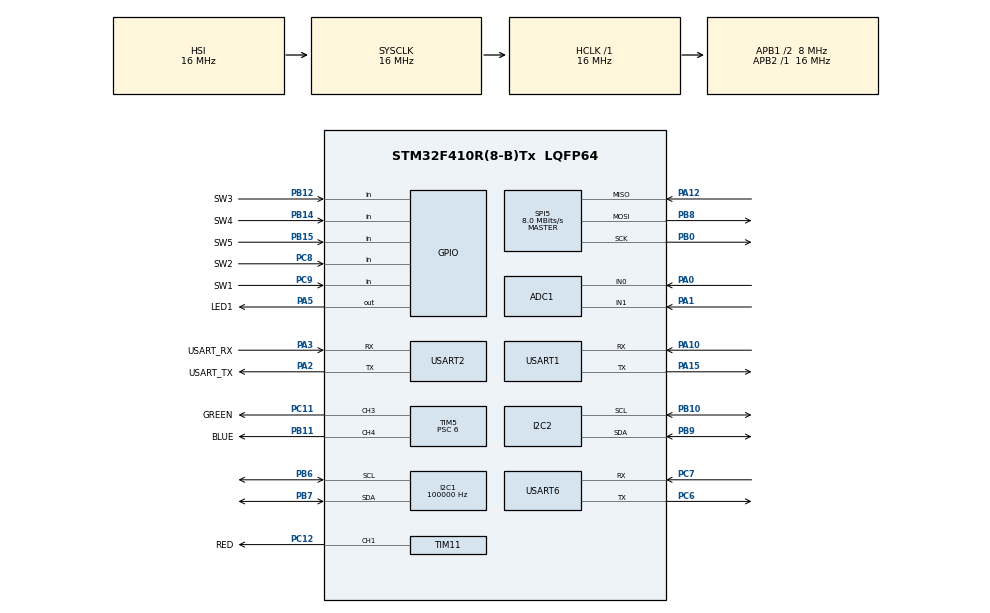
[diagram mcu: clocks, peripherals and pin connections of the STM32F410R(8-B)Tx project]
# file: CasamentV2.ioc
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ADC1.Channel-0\#ChannelRegularConversion=ADC_CHANNEL_0
ADC1.NbrOfConversionFlag=1
ADC1.Rank-0\#ChannelRegularConversion=1
ADC1.SamplingTime-0\#ChannelRegularConversion=ADC_SAMPLETIME_3CYCLES
ADC1.master=1
I2C1.ClockSpeed=100000
I2C1.I2C_Mode=I2C_Standard
Mcu.Family=STM32F4
Mcu.Name=STM32F410R(8-B)Tx
Mcu.Package=LQFP64
NVIC.PriorityGroup=NVIC_PRIORITYGROUP_0
PA0-WKUP.Signal=ADCx_IN0
PA1.Signal=ADCx_IN1
PA10.Mode=Asynchronous
PA10.Signal=USART1_RX
PA12.Mode=Full_Duplex_Master
PA12.Signal=SPI5_MISO
PA13.GPIO_Label=TMS
PA13.Mode=Serial_Wire
PA13.Signal=SYS_JTMS-SWDIO
PA14.GPIO_Label=TCK
PA14.Mode=Serial_Wire
PA14.Signal=SYS_JTCK-SWCLK
PA15.Mode=Asynchronous
PA15.Signal=USART1_TX
PA2.GPIO_Label=USART_TX
PA2.Mode=Asynchronous
PA2.Signal=USART2_TX
PA3.GPIO_Label=USART_RX
PA3.Mode=Asynchronous
PA3.Signal=USART2_RX
PA5.GPIO_Label=LED1
PA5.Signal=GPIO_Output
PB0.Mode=Full_Duplex_Master
PB0.Signal=SPI5_SCK
PB10.Mode=I2C
PB10.Signal=I2C2_SCL
PB11.GPIO_Label=BLUE
PB11.Signal=S_TIM5_CH4
PB12.GPIO_Label=SW3
PB12.GPIO_PuPd=GPIO_PULLDOWN
PB12.Signal=GPIO_Input
PB14.GPIO_Label=SW4
PB14.GPIO_PuPd=GPIO_PULLDOWN
PB14.Signal=GPIO_Input
PB15.GPIO_Label=SW5
PB15.GPIO_PuPd=GPIO_PULLDOWN
PB15.Signal=GPIO_Input
PB3.GPIO_Label=SWO
PB3.Signal=SYS_JTDO-SWO
PB6.Mode=I2C
PB6.Signal=I2C1_SCL
PB7.Mode=I2C
PB7.Signal=I2C1_SDA
PB8.Mode=Full_Duplex_Master
PB8.Signal=SPI5_MOSI
PB9.Mode=I2C
PB9.Signal=I2C2_SDA
PC11.GPIO_Label=GREEN
PC11.Signal=S_TIM5_CH3
PC12.GPIO_Label=RED
PC12.Signal=S_TIM11_CH1
PC14-OSC32_IN.Mode=LSE-External-Oscillator
PC14-OSC32_IN.Signal=RCC_OSC32_IN
PC15-OSC32_OUT.Mode=LSE-External-Oscillator
PC15-OSC32_OUT.Signal=RCC_OSC32_OUT
PC6.Mode=Asynchronous
PC6.Signal=USART6_TX
PC7.Mode=Asynchronous
PC7.Signal=USART6_RX
PC8.GPIO_Label=SW2
PC8.GPIO_PuPd=GPIO_PULLDOWN
PC8.Signal=GPIO_Input
PC9.GPIO_Label=SW1
PC9.GPIO_Mode=GPIO_MODE_INPUT
PC9.GPIO_PuPd=GPIO_PULLDOWN
PC9.Signal=GPIO_Input
ProjectManager.HeapSize=0x200
ProjectManager.StackSize=0x400
ProjectManager.TargetToolchain=STM32CubeIDE
RCC.48MHZClocksFreq_Value=50000000
RCC.AHBFreq_Value=16000000
RCC.APB1CLKDivider=RCC_HCLK_DIV2
RCC.APB1Freq_Value=8000000
RCC.APB1TimFreq_Value=16000000
RCC.APB2Freq_Value=16000000
RCC.APB2TimFreq_Value=16000000
RCC.CortexFreq_Value=16000000
RCC.FLatency-AdvancedSettings=FLASH_LATENCY_0
RCC.HCLKFreq_Value=16000000
RCC.HSE_VALUE=8000000
RCC.HSI_VALUE=16000000
RCC.PLLM=8
RCC.PLLN=100
RCC.RCC_RTC_Clock_SourceVirtual=RCC_RTCCLKSOURCE_LSE
RCC.SYSCLKFreq_VALUE=16000000
RCC.VCOOutputFreq_Value=200000000
RTC.Format=RTC_FORMAT_BIN
SH.ADCx_IN0.0=ADC1_IN0,IN0
SH.ADCx_IN1.0=ADC1_IN1,IN1
SH.S_TIM11_CH1.0=TIM11_CH1,PWM Generation1 CH1
SH.S_TIM5_CH3.0=TIM5_CH3,PWM Generation3 CH3
SH.S_TIM5_CH4.0=TIM5_CH4,PWM Generation4 CH4
SPI5.CalculateBaudRate=8.0 MBits/s
SPI5.Direction=SPI_DIRECTION_2LINES
SPI5.Mode=SPI_MODE_MASTER
SPI5.VirtualType=VM_MASTER
TIM11.Channel=TIM_CHANNEL_1
TIM11.Period=255
TIM11.Prescaler=6
TIM11.Pulse=0
TIM5.Channel-PWM\ Generation3\ CH3=TIM_CHANNEL_3
TIM5.Channel-PWM\ Generation4\ CH4=TIM_CHANNEL_4
TIM5.Period=255
TIM5.Prescaler=6
USART1.OverSampling=UART_OVERSAMPLING_16
USART1.VirtualMode=VM_ASYNC
USART2.VirtualMode=VM_ASYNC
USART6.VirtualMode=VM_ASYNC
VP_RTC_VS_RTC_Activate.Mode=RTC_Enabled
VP_RTC_VS_RTC_Calendar.Mode=RTC_Calendar
VP_TIM11_VS_ClockSourceINT.Mode=Enable_Timer
board=NUCLEO-F410RB

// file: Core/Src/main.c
/* USER CODE BEGIN Header */
/**
  ******************************************************************************
  * @file           : main.c
  * @brief          : Main program body
  ******************************************************************************
  * @attention
  *
  * Copyright (c) 2023 STMicroelectronics.
  * All rights reserved.
  *
  * This software is licensed under terms that can be found in the LICENSE file
  * in the root directory of this software component.
  * If no LICENSE file comes with this software, it is provided AS-IS.
  *
  ******************************************************************************
  */
/* USER CODE END Header */
#include "main.h"

/* USER CODE BEGIN Includes */
#include "ee.h"
/* USER CODE END Includes */

/* USER CODE BEGIN PD */
//colors

/* USER CODE END PD */

ADC_HandleTypeDef hadc1;

I2C_HandleTypeDef hi2c1;
I2C_HandleTypeDef hi2c2;

RTC_HandleTypeDef hrtc;

SPI_HandleTypeDef hspi5;

TIM_HandleTypeDef htim5;
TIM_HandleTypeDef htim11;

UART_HandleTypeDef huart1;
UART_HandleTypeDef huart2;
UART_HandleTypeDef huart6;

/* USER CODE BEGIN PV */
//variables guaradades a la flash

uint8_t var1 = 0;
//UART1=J3
//UART6=J2
//UART2=ICSP
int __io_putchar(int ch){
	HAL_UART_Transmit(&huart2, (uint8_t *)&ch, 1, 100);
	return ch;
}

uint8_t actualzarhora = 0;
//variables snake
extern int score;
//veriables del menu
bool snake_en = false; //engenga la pantalla de l'snake.
bool simon_en = false;
bool boad_en = false;
bool ajustar_hora = false;
//veriable del simon
uint8_t control_error = 0;
uint32_t dades_guardar = 0;

typedef struct{
	uint32_t total_points;
	uint16_t snake_points;
	uint16_t boat_points;
	uint16_t simon_points;

}ee_Storage_t;

ee_Storage_t ee;
/* USER CODE END PV */

void SystemClock_Config(void);
static void MX_GPIO_Init(void);
static void MX_USART2_UART_Init(void);
static void MX_TIM11_Init(void);
static void MX_TIM5_Init(void);
static void MX_I2C1_Init(void);
static void MX_USART1_UART_Init(void);
static void MX_USART6_UART_Init(void);
static void MX_RTC_Init(void);
static void MX_ADC1_Init(void);
static void MX_I2C2_Init(void);
static void MX_SPI5_Init(void);

/* USER CODE BEGIN 0 */
bool update_data = false;
/* USER CODE END 0 */

int main(void)
{

  /* MCU Configuration--------------------------------------------------------*/

  /* Reset of all peripherals, Initializes the Flash interface and the Systick. */
  HAL_Init();

  /* Configure the system clock */
  SystemClock_Config();

  /* Initialize all configured peripherals */
  MX_GPIO_Init();
  MX_USART2_UART_Init();
  MX_TIM11_Init();
  MX_TIM5_Init();
  MX_I2C1_Init();
  MX_USART1_UART_Init();
  MX_USART6_UART_Init();
  MX_RTC_Init();
  MX_ADC1_Init();
  MX_I2C2_Init();
  MX_SPI5_Init();
  /* USER CODE BEGIN 2 */
  init_RGB();
  ssd1306_Init();
  //iniciar la serp
  init_snake();
 /* EE_Init(&ee, sizeof(ee_Storage_t));
  ee.boat_points = 0;
  ee.total_points = 12;
  printf("%lu\r\n", ee.total_points);
  EE_Write();
  ee.total_points = 25;
  printf("%lu\r\n", ee.total_points);
  EE_Read();
  printf("%lu\r\n", ee.total_points);
/*

  /* USER CODE END 2 */

  /* Infinite loop */
  while (1)
  {

    /* USER CODE BEGIN 3 */

/*
	  if(HAL_GPIO_ReadPin(SW1_GPIO_Port, SW1_Pin)){
		  LED_RGB(vermell);
	  }
	  else if(HAL_GPIO_ReadPin(SW2_GPIO_Port, SW2_Pin)){
		  LED_RGB(verd);
	  }
	  else if(HAL_GPIO_ReadPin(SW3_GPIO_Port, SW3_Pin)){
	  		  LED_RGB(blau);
	  	  }
	  else if(HAL_GPIO_ReadPin(SW4_GPIO_Port, SW4_Pin)){
	  		  LED_RGB(rosa);
	  	  }
	  else if(HAL_GPIO_ReadPin(SW5_GPIO_Port, SW5_Pin)){
	  		  LED_RGB(groc);
	  	  }

	  else{
		  LED_RGB(blanc);
	  }
*/
	  //joc del snake
	  if(!snake_en && !simon_en && !boad_en && !ajustar_hora){
		  //menu principal, posar la hora i el boto incial.
		  //LED_RGB(vermell);
		  hora();
		  //printf("hola\r\n");

		  //score = 0;
		  menu();
	  }
	  if(snake_en){
		  update_grid();
		  check_food();
		  move_snake();
		  if (check_collision(true)){
			  snake_en = false;
			  ssd1306_Fill(Black);
		  }
		  wait_check();
	  }
	  if(boad_en){
		  boad_init(true);
		  boad_matrix_build();
		  Boat_Send_matrix(0x34, 0x88);
		  update_OLED();
	  }
	  if(simon_en){
		  //test_led();
		  //test_random_LED();
		  Led_Sequence();
		  control_error = SW_Sequence ();
		  if(control_error == 100){
			  simon_game_over();
			  simon_en = false;
			  //init_simon();
			  ssd1306_Fill(Black);
		  }
		  HAL_Delay(200);
	  }
	  if(ajustar_hora){
		  //gestio
		  actualitzar_hora();
		  ajustar_hora = false;

	  }
	  //HAL_Delay(200);

  }
  /* USER CODE END 3 */
}

void SystemClock_Config(void)
{
  RCC_OscInitTypeDef RCC_OscInitStruct = {0};
  RCC_ClkInitTypeDef RCC_ClkInitStruct = {0};

  /** Configure the main internal regulator output voltage
  */
  __HAL_RCC_PWR_CLK_ENABLE();
  __HAL_PWR_VOLTAGESCALING_CONFIG(PWR_REGULATOR_VOLTAGE_SCALE1);

  /** Initializes the RCC Oscillators according to the specified parameters
  * in the RCC_OscInitTypeDef structure.
  */
  RCC_OscInitStruct.OscillatorType = RCC_OSCILLATORTYPE_HSI|RCC_OSCILLATORTYPE_LSE;
  RCC_OscInitStruct.LSEState = RCC_LSE_ON;
  RCC_OscInitStruct.HSIState = RCC_HSI_ON;
  RCC_OscInitStruct.HSICalibrationValue = RCC_HSICALIBRATION_DEFAULT;
  RCC_OscInitStruct.PLL.PLLState = RCC_PLL_NONE;
  if (HAL_RCC_OscConfig(&RCC_OscInitStruct) != HAL_OK)
  {
    Error_Handler();
  }

  /** Initializes the CPU, AHB and APB buses clocks
  */
  RCC_ClkInitStruct.ClockType = RCC_CLOCKTYPE_HCLK|RCC_CLOCKTYPE_SYSCLK
                              |RCC_CLOCKTYPE_PCLK1|RCC_CLOCKTYPE_PCLK2;
  RCC_ClkInitStruct.SYSCLKSource = RCC_SYSCLKSOURCE_HSI;
  RCC_ClkInitStruct.AHBCLKDivider = RCC_SYSCLK_DIV1;
  RCC_ClkInitStruct.APB1CLKDivider = RCC_HCLK_DIV2;
  RCC_ClkInitStruct.APB2CLKDivider = RCC_HCLK_DIV1;

  if (HAL_RCC_ClockConfig(&RCC_ClkInitStruct, FLASH_LATENCY_0) != HAL_OK)
  {
    Error_Handler();
  }
}

static void MX_ADC1_Init(void)
{

  ADC_ChannelConfTypeDef sConfig = {0};

  /** Configure the global features of the ADC (Clock, Resolution, Data Alignment and number of conversion)
  */
  hadc1.Instance = ADC1;
  hadc1.Init.ClockPrescaler = ADC_CLOCK_SYNC_PCLK_DIV2;
  hadc1.Init.Resolution = ADC_RESOLUTION_12B;
  hadc1.Init.ScanConvMode = DISABLE;
  hadc1.Init.ContinuousConvMode = DISABLE;
  hadc1.Init.DiscontinuousConvMode = DISABLE;
  hadc1.Init.ExternalTrigConvEdge = ADC_EXTERNALTRIGCONVEDGE_NONE;
  hadc1.Init.ExternalTrigConv = ADC_SOFTWARE_START;
  hadc1.Init.DataAlign = ADC_DATAALIGN_RIGHT;
  hadc1.Init.NbrOfConversion = 1;
  hadc1.Init.DMAContinuousRequests = DISABLE;
  hadc1.Init.EOCSelection = ADC_EOC_SINGLE_CONV;
  if (HAL_ADC_Init(&hadc1) != HAL_OK)
  {
    Error_Handler();
  }

  /** Configure for the selected ADC regular channel its corresponding rank in the sequencer and its sample time.
  */
  sConfig.Channel = ADC_CHANNEL_0;
  sConfig.Rank = 1;
  sConfig.SamplingTime = ADC_SAMPLETIME_3CYCLES;
  if (HAL_ADC_ConfigChannel(&hadc1, &sConfig) != HAL_OK)
  {
    Error_Handler();
  }

}

static void MX_I2C1_Init(void)
{

  hi2c1.Instance = I2C1;
  hi2c1.Init.ClockSpeed = 100000;
  hi2c1.Init.DutyCycle = I2C_DUTYCYCLE_2;
  hi2c1.Init.OwnAddress1 = 0;
  hi2c1.Init.AddressingMode = I2C_ADDRESSINGMODE_7BIT;
  hi2c1.Init.DualAddressMode = I2C_DUALADDRESS_DISABLE;
  hi2c1.Init.OwnAddress2 = 0;
  hi2c1.Init.GeneralCallMode = I2C_GENERALCALL_DISABLE;
  hi2c1.Init.NoStretchMode = I2C_NOSTRETCH_DISABLE;
  if (HAL_I2C_Init(&hi2c1) != HAL_OK)
  {
    Error_Handler();
  }

}

static void MX_I2C2_Init(void)
{

  hi2c2.Instance = I2C2;
  hi2c2.Init.ClockSpeed = 100000;
  hi2c2.Init.DutyCycle = I2C_DUTYCYCLE_2;
  hi2c2.Init.OwnAddress1 = 0;
  hi2c2.Init.AddressingMode = I2C_ADDRESSINGMODE_7BIT;
  hi2c2.Init.DualAddressMode = I2C_DUALADDRESS_DISABLE;
  hi2c2.Init.OwnAddress2 = 0;
  hi2c2.Init.GeneralCallMode = I2C_GENERALCALL_DISABLE;
  hi2c2.Init.NoStretchMode = I2C_NOSTRETCH_DISABLE;
  if (HAL_I2C_Init(&hi2c2) != HAL_OK)
  {
    Error_Handler();
  }

}

static void MX_RTC_Init(void)
{

  RTC_TimeTypeDef sTime = {0};
  RTC_DateTypeDef sDate = {0};

  /** Initialize RTC Only
  */
  hrtc.Instance = RTC;
  hrtc.Init.HourFormat = RTC_HOURFORMAT_24;
  hrtc.Init.AsynchPrediv = 127;
  hrtc.Init.SynchPrediv = 255;
  hrtc.Init.OutPut = RTC_OUTPUT_DISABLE;
  hrtc.Init.OutPutPolarity = RTC_OUTPUT_POLARITY_HIGH;
  hrtc.Init.OutPutType = RTC_OUTPUT_TYPE_OPENDRAIN;
  if (HAL_RTC_Init(&hrtc) != HAL_OK)
  {
    Error_Handler();
  }

  /* USER CODE BEGIN Check_RTC_BKUP */
  if(HAL_RTCEx_BKUPRead(&hrtc, RTC_BKP_DR0) != 0x45){
	  BSP_RTC_SetInitialDateTime();
	  /* Writes a data in a RTC Backup data Register0 #######################*/
	  HAL_RTCEx_BKUPWrite(&hrtc, RTC_BKP_DR0, 0x45);
  }
  if(0){ //ja ho comprovo en el element superior

  /* USER CODE END Check_RTC_BKUP */

  /** Initialize RTC and set the Time and Date
  */
  sTime.Hours = 0;
  sTime.Minutes = 0;
  sTime.Seconds = 0;
  sTime.DayLightSaving = RTC_DAYLIGHTSAVING_NONE;
  sTime.StoreOperation = RTC_STOREOPERATION_RESET;
  if (HAL_RTC_SetTime(&hrtc, &sTime, RTC_FORMAT_BIN) != HAL_OK)
  {
    Error_Handler();
  }
  sDate.WeekDay = RTC_WEEKDAY_MONDAY;
  sDate.Month = RTC_MONTH_JANUARY;
  sDate.Date = 1;
  sDate.Year = 0;

  if (HAL_RTC_SetDate(&hrtc, &sDate, RTC_FORMAT_BIN) != HAL_OK)
  {
    Error_Handler();
  }
  }

}

static void MX_SPI5_Init(void)
{

  /* SPI5 parameter configuration*/
  hspi5.Instance = SPI5;
  hspi5.Init.Mode = SPI_MODE_MASTER;
  hspi5.Init.Direction = SPI_DIRECTION_2LINES;
  hspi5.Init.DataSize = SPI_DATASIZE_8BIT;
  hspi5.Init.CLKPolarity = SPI_POLARITY_LOW;
  hspi5.Init.CLKPhase = SPI_PHASE_1EDGE;
  hspi5.Init.NSS = SPI_NSS_SOFT;
  hspi5.Init.BaudRatePrescaler = SPI_BAUDRATEPRESCALER_2;
  hspi5.Init.FirstBit = SPI_FIRSTBIT_MSB;
  hspi5.Init.TIMode = SPI_TIMODE_DISABLE;
  hspi5.Init.CRCCalculation = SPI_CRCCALCULATION_DISABLE;
  hspi5.Init.CRCPolynomial = 15;
  if (HAL_SPI_Init(&hspi5) != HAL_OK)
  {
    Error_Handler();
  }

}

static void MX_TIM5_Init(void)
{

  TIM_MasterConfigTypeDef sMasterConfig = {0};
  TIM_OC_InitTypeDef sConfigOC = {0};

  htim5.Instance = TIM5;
  htim5.Init.Prescaler = 6;
  htim5.Init.CounterMode = TIM_COUNTERMODE_UP;
  htim5.Init.Period = 255;
  htim5.Init.ClockDivision = TIM_CLOCKDIVISION_DIV1;
  htim5.Init.AutoReloadPreload = TIM_AUTORELOAD_PRELOAD_DISABLE;
  if (HAL_TIM_PWM_Init(&htim5) != HAL_OK)
  {
    Error_Handler();
  }
  sMasterConfig.MasterOutputTrigger = TIM_TRGO_RESET;
  sMasterConfig.MasterSlaveMode = TIM_MASTERSLAVEMODE_DISABLE;
  if (HAL_TIMEx_MasterConfigSynchronization(&htim5, &sMasterConfig) != HAL_OK)
  {
    Error_Handler();
  }
  sConfigOC.OCMode = TIM_OCMODE_PWM1;
  sConfigOC.Pulse = 0;
  sConfigOC.OCPolarity = TIM_OCPOLARITY_HIGH;
  sConfigOC.OCFastMode = TIM_OCFAST_DISABLE;
  if (HAL_TIM_PWM_ConfigChannel(&htim5, &sConfigOC, TIM_CHANNEL_3) != HAL_OK)
  {
    Error_Handler();
  }
  if (HAL_TIM_PWM_ConfigChannel(&htim5, &sConfigOC, TIM_CHANNEL_4) != HAL_OK)
  {
    Error_Handler();
  }
  HAL_TIM_MspPostInit(&htim5);

}

static void MX_TIM11_Init(void)
{

  TIM_OC_InitTypeDef sConfigOC = {0};

  htim11.Instance = TIM11;
  htim11.Init.Prescaler = 6;
  htim11.Init.CounterMode = TIM_COUNTERMODE_UP;
  htim11.Init.Period = 255;
  htim11.Init.ClockDivision = TIM_CLOCKDIVISION_DIV1;
  htim11.Init.AutoReloadPreload = TIM_AUTORELOAD_PRELOAD_DISABLE;
  if (HAL_TIM_Base_Init(&htim11) != HAL_OK)
  {
    Error_Handler();
  }
  if (HAL_TIM_PWM_Init(&htim11) != HAL_OK)
  {
    Error_Handler();
  }
  sConfigOC.OCMode = TIM_OCMODE_PWM1;
  sConfigOC.Pulse = 0;
  sConfigOC.OCPolarity = TIM_OCPOLARITY_HIGH;
  sConfigOC.OCFastMode = TIM_OCFAST_DISABLE;
  if (HAL_TIM_PWM_ConfigChannel(&htim11, &sConfigOC, TIM_CHANNEL_1) != HAL_OK)
  {
    Error_Handler();
  }
  HAL_TIM_MspPostInit(&htim11);

}

static void MX_USART1_UART_Init(void)
{

  huart1.Instance = USART1;
  huart1.Init.BaudRate = 115200;
  huart1.Init.WordLength = UART_WORDLENGTH_8B;
  huart1.Init.StopBits = UART_STOPBITS_1;
  huart1.Init.Parity = UART_PARITY_NONE;
  huart1.Init.Mode = UART_MODE_TX_RX;
  huart1.Init.HwFlowCtl = UART_HWCONTROL_NONE;
  huart1.Init.OverSampling = UART_OVERSAMPLING_16;
  if (HAL_UART_Init(&huart1) != HAL_OK)
  {
    Error_Handler();
  }

}

static void MX_USART2_UART_Init(void)
{

  huart2.Instance = USART2;
  huart2.Init.BaudRate = 115200;
  huart2.Init.WordLength = UART_WORDLENGTH_8B;
  huart2.Init.StopBits = UART_STOPBITS_1;
  huart2.Init.Parity = UART_PARITY_NONE;
  huart2.Init.Mode = UART_MODE_TX_RX;
  huart2.Init.HwFlowCtl = UART_HWCONTROL_NONE;
  huart2.Init.OverSampling = UART_OVERSAMPLING_16;
  if (HAL_UART_Init(&huart2) != HAL_OK)
  {
    Error_Handler();
  }

}

static void MX_USART6_UART_Init(void)
{

  huart6.Instance = USART6;
  huart6.Init.BaudRate = 115200;
  huart6.Init.WordLength = UART_WORDLENGTH_8B;
  huart6.Init.StopBits = UART_STOPBITS_1;
  huart6.Init.Parity = UART_PARITY_NONE;
  huart6.Init.Mode = UART_MODE_TX_RX;
  huart6.Init.HwFlowCtl = UART_HWCONTROL_NONE;
  huart6.Init.OverSampling = UART_OVERSAMPLING_16;
  if (HAL_UART_Init(&huart6) != HAL_OK)
  {
    Error_Handler();
  }

}

static void MX_GPIO_Init(void)
{
  GPIO_InitTypeDef GPIO_InitStruct = {0};

  /* GPIO Ports Clock Enable */
  __HAL_RCC_GPIOC_CLK_ENABLE();
  __HAL_RCC_GPIOA_CLK_ENABLE();
  __HAL_RCC_GPIOB_CLK_ENABLE();

  /*Configure GPIO pin Output Level */
  HAL_GPIO_WritePin(LED1_GPIO_Port, LED1_Pin, GPIO_PIN_RESET);

  /*Configure GPIO pin : LED1_Pin */
  GPIO_InitStruct.Pin = LED1_Pin;
  GPIO_InitStruct.Mode = GPIO_MODE_OUTPUT_PP;
  GPIO_InitStruct.Pull = GPIO_NOPULL;
  GPIO_InitStruct.Speed = GPIO_SPEED_FREQ_LOW;
  HAL_GPIO_Init(LED1_GPIO_Port, &GPIO_InitStruct);

  /*Configure GPIO pins : SW3_Pin SW4_Pin SW5_Pin */
  GPIO_InitStruct.Pin = SW3_Pin|SW4_Pin|SW5_Pin;
  GPIO_InitStruct.Mode = GPIO_MODE_INPUT;
  GPIO_InitStruct.Pull = GPIO_PULLDOWN;
  HAL_GPIO_Init(GPIOB, &GPIO_InitStruct);

  /*Configure GPIO pins : SW2_Pin SW1_Pin */
  GPIO_InitStruct.Pin = SW2_Pin|SW1_Pin;
  GPIO_InitStruct.Mode = GPIO_MODE_INPUT;
  GPIO_InitStruct.Pull = GPIO_PULLDOWN;
  HAL_GPIO_Init(GPIOC, &GPIO_InitStruct);

}

/* USER CODE BEGIN 4 */
void print_func (char* str_var){
	printf(str_var);
}

/* USER CODE END 4 */

void Error_Handler(void)
{
  __disable_irq();
  while (1)
  {
  }
}
